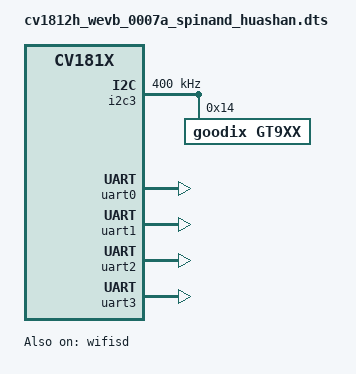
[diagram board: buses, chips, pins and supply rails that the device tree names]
/dts-v1/;
#include "cv181x_base_riscv.dtsi"
#include "cv181x_asic_bga.dtsi"
#include "cv181x_asic_spinand.dtsi"
#include "cv181x_default_memmap.dtsi"

&dac {
		/delete-property/ mute-gpio-l;
		/delete-property/ mute-gpio-r;
	};

&uart0 {
	status = "okay";
};

&uart1 {
	status = "okay";
};

&uart2 {
	status = "okay";
};

&uart3 {
	status = "okay";
};

&wifisd {
	status = "okay";
};

&mipi_rx {
	snsr-reset = <&porta 2 GPIO_ACTIVE_LOW>, <&porta 6 GPIO_ACTIVE_LOW>, <&porta 2 GPIO_ACTIVE_LOW>;
};

/ {

    i2c3: i2c@04030000 {
		compatible = "snps,designware-i2c";
		clocks = <&clk CV181X_CLK_I2C>;
		reg = <0x0 0x04030000 0x0 0x1000>;
		clock-frequency = <400000>;
		resets = <&rst RST_I2C3>;
		reset-names = "i2c3";
		interrupts = <52 IRQ_TYPE_LEVEL_HIGH>;
		interrupt-parent = <&plic0>;
		gt9xx: gt9xx@14 {
			compatible = "goodix,gt9xx";
			reg = <0x14>;
			status = "okay";
		};

	};
};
